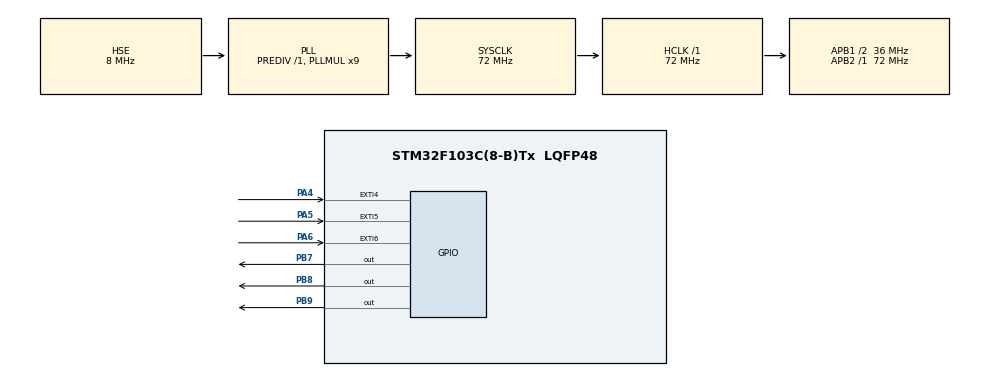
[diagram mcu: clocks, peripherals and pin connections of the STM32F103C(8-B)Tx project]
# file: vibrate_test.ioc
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Mcu.Family=STM32F1
Mcu.Name=STM32F103C(8-B)Tx
Mcu.Package=LQFP48
NVIC.EXTI4_IRQn=true\:2\:0\:true\:false\:true\:true\:true\:true
NVIC.EXTI9_5_IRQn=true\:2\:0\:true\:false\:true\:true\:true\:true
NVIC.PriorityGroup=NVIC_PRIORITYGROUP_4
PA4.Signal=GPXTI4
PA5.Signal=GPXTI5
PA6.Signal=GPXTI6
PB7.PinState=GPIO_PIN_SET
PB7.Signal=GPIO_Output
PB8.PinState=GPIO_PIN_SET
PB8.Signal=GPIO_Output
PB9.PinState=GPIO_PIN_SET
PB9.Signal=GPIO_Output
PD0-OSC_IN.Mode=HSE-External-Oscillator
PD0-OSC_IN.Signal=RCC_OSC_IN
PD1-OSC_OUT.Mode=HSE-External-Oscillator
PD1-OSC_OUT.Signal=RCC_OSC_OUT
ProjectManager.HeapSize=0x200
ProjectManager.StackSize=0x400
ProjectManager.TargetToolchain=MDK-ARM V5.32
RCC.AHBFreq_Value=72000000
RCC.APB1CLKDivider=RCC_HCLK_DIV2
RCC.APB1Freq_Value=36000000
RCC.APB1TimFreq_Value=72000000
RCC.APB2Freq_Value=72000000
RCC.APB2TimFreq_Value=72000000
RCC.HCLKFreq_Value=72000000
RCC.PLLMUL=RCC_PLL_MUL9
RCC.PLLSourceVirtual=RCC_PLLSOURCE_HSE
RCC.SYSCLKFreq_VALUE=72000000
RCC.SYSCLKSource=RCC_SYSCLKSOURCE_PLLCLK
RCC.USBFreq_Value=72000000
VP_SYS_VS_ND.Mode=No_Debug
board=custom

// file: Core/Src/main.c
/* USER CODE BEGIN Header */
/**
  ******************************************************************************
  * @file           : main.c
  * @brief          : Main program body
  ******************************************************************************
  * @attention
  *
  * Copyright (c) 2023 STMicroelectronics.
  * All rights reserved.
  *
  * This software is licensed under terms that can be found in the LICENSE file
  * in the root directory of this software component.
  * If no LICENSE file comes with this software, it is provided AS-IS.
  *
  ******************************************************************************
  */
/* USER CODE END Header */
#include "main.h"
#include "gpio.h"

void SystemClock_Config(void);

int main(void)
{

  /* MCU Configuration--------------------------------------------------------*/

  /* Reset of all peripherals, Initializes the Flash interface and the Systick. */
  HAL_Init();

  /* Configure the system clock */
  SystemClock_Config();

  /* Initialize all configured peripherals */
  MX_GPIO_Init();

  /* Infinite loop */
  while (1)
  {

  }
}

void SystemClock_Config(void)
{
  RCC_OscInitTypeDef RCC_OscInitStruct = {0};
  RCC_ClkInitTypeDef RCC_ClkInitStruct = {0};

  /** Initializes the RCC Oscillators according to the specified parameters
  * in the RCC_OscInitTypeDef structure.
  */
  RCC_OscInitStruct.OscillatorType = RCC_OSCILLATORTYPE_HSE;
  RCC_OscInitStruct.HSEState = RCC_HSE_ON;
  RCC_OscInitStruct.HSEPredivValue = RCC_HSE_PREDIV_DIV1;
  RCC_OscInitStruct.HSIState = RCC_HSI_ON;
  RCC_OscInitStruct.PLL.PLLState = RCC_PLL_ON;
  RCC_OscInitStruct.PLL.PLLSource = RCC_PLLSOURCE_HSE;
  RCC_OscInitStruct.PLL.PLLMUL = RCC_PLL_MUL9;
  if (HAL_RCC_OscConfig(&RCC_OscInitStruct) != HAL_OK)
  {
    Error_Handler();
  }

  /** Initializes the CPU, AHB and APB buses clocks
  */
  RCC_ClkInitStruct.ClockType = RCC_CLOCKTYPE_HCLK|RCC_CLOCKTYPE_SYSCLK
                              |RCC_CLOCKTYPE_PCLK1|RCC_CLOCKTYPE_PCLK2;
  RCC_ClkInitStruct.SYSCLKSource = RCC_SYSCLKSOURCE_PLLCLK;
  RCC_ClkInitStruct.AHBCLKDivider = RCC_SYSCLK_DIV1;
  RCC_ClkInitStruct.APB1CLKDivider = RCC_HCLK_DIV2;
  RCC_ClkInitStruct.APB2CLKDivider = RCC_HCLK_DIV1;

  if (HAL_RCC_ClockConfig(&RCC_ClkInitStruct, FLASH_LATENCY_2) != HAL_OK)
  {
    Error_Handler();
  }
}

/* USER CODE BEGIN 4 */
#define ON 1
#define OFF 0

// 是否开启防盗模式
int flag = OFF;

void HAL_GPIO_EXTI_Callback(uint16_t GPIO_Pin) {
	switch(GPIO_Pin) {
		case GPIO_PIN_4:
			if(HAL_GPIO_ReadPin(GPIOA, GPIO_Pin) == GPIO_PIN_RESET && flag == ON) {
				HAL_GPIO_WritePin(GPIOB, GPIO_PIN_7, GPIO_PIN_RESET);
			}
			break;
		case GPIO_PIN_5:
			if(HAL_GPIO_ReadPin(GPIOA, GPIO_Pin) == GPIO_PIN_SET) {
				HAL_GPIO_WritePin(GPIOB, GPIO_PIN_7, GPIO_PIN_RESET);
				HAL_Delay(1000);
				HAL_GPIO_WritePin(GPIOB, GPIO_PIN_7, GPIO_PIN_SET);
				flag = ON;
			}
			break;
		case GPIO_PIN_6:
			if(HAL_GPIO_ReadPin(GPIOA, GPIO_Pin) == GPIO_PIN_SET) {
				HAL_GPIO_WritePin(GPIOB, GPIO_PIN_7, GPIO_PIN_SET);
				flag = OFF;
			}
			break;
	}
}

/* USER CODE END 4 */

void Error_Handler(void)
{
  __disable_irq();
  while (1)
  {
  }
}
